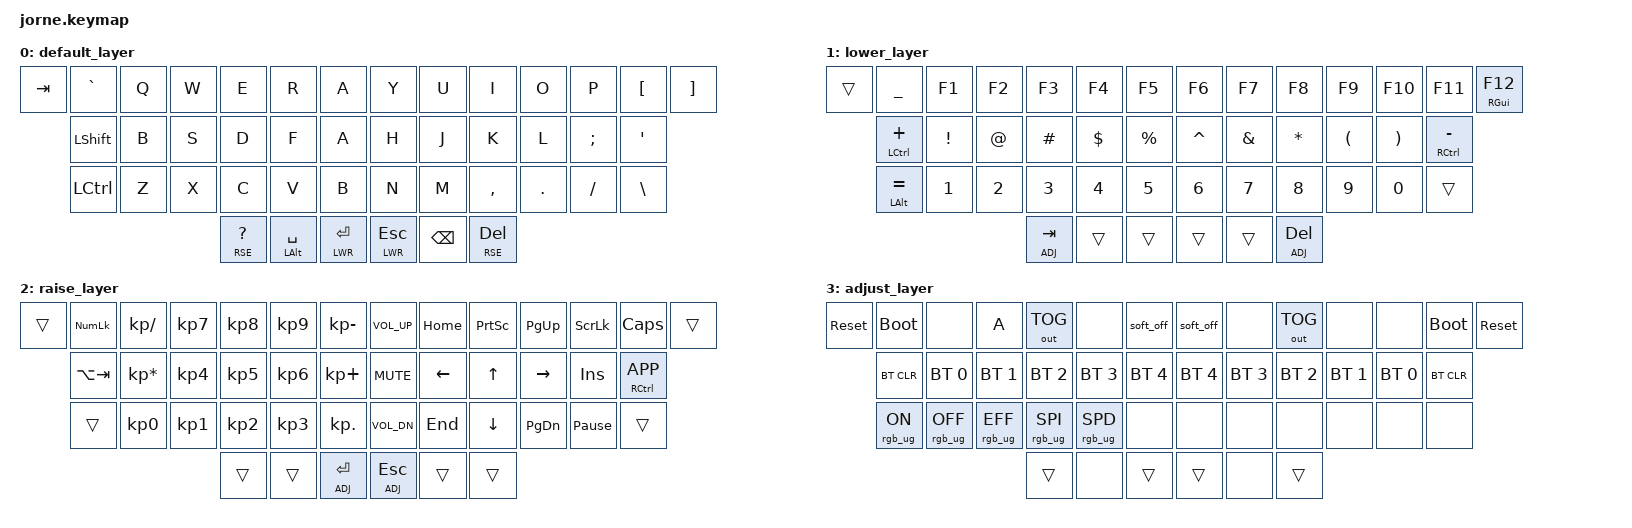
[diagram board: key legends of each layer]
/*
 * Copyright (c) 2020 The ZMK Contributors
 *
 * SPDX-License-Identifier: MIT
 */

#include <behaviors.dtsi>
#include <dt-bindings/zmk/bt.h>
#include <dt-bindings/zmk/keys.h>
#include <dt-bindings/zmk/outputs.h>
#include <dt-bindings/zmk/rgb.h>

//CONFIG_ZMK_SETTINGS_SAVE_DEBOUNCE=1000
//CONFIG_ZMK_RGB_UNDERGLOW_AUTO_OFF_IDLE=y
//CONFIG_ZMK_RGB_UNDERGLOW_AUTO_OFF_USB=y

&led_strip {
    chain-length = <28>;

    // chain-length = <28>;
    // 22 backlight + 6 glowlight
};

#define DEF 0
#define LWR 1
#define RSE 2
#define ADJ 3

/ {
    keymap {
        compatible = "zmk,keymap";

        default_layer {
            // -----------------------------------------------------------------------------------------
            // |  GUI |   ~  |  Q  |  W  |  E  |  R  |  T  |   |  Y  |  U   |  I  |  O  |  P  |  [   | GUI/] |
            //        | CTRL |  A  |  S  |  D  |  F  |  G  |   |  H  |  J   |  K  |  L  |  ;  |CTRL/'|
            //        | LALT |  Z  |  X  |  C  |  V  |  B  |   |  N  |  M   |  ,  |  .  |  /  | RALT |
            //                           | RSE | SPC | LWR |   | LWR | BKSP | RSE |

            bindings = <
&kp TAB  &kp GRAVE       &kp Q  &kp W  &kp E             &kp R               &kp A          &kp Y        &kp U          &kp I        &kp O    &kp P     &kp LBKT          &kp RIGHT_BRACKET
         &kp LEFT_SHIFT  &kp B  &kp S  &kp D             &kp F               &kp A          &kp H        &kp J          &kp K        &kp L    &kp SEMI  &kp SINGLE_QUOTE
         &kp LCTRL       &kp Z  &kp X  &kp C             &kp V               &kp B          &kp N        &kp M          &kp COMMA    &kp DOT  &kp FSLH  &kp BSLH
                                       &lt RSE QUESTION  &mt LEFT_ALT SPACE  &lt LWR RET    &lt LWR ESC  &kp BACKSPACE  &lt RSE DEL
            >;
        };

        lower_layer {
            // -----------------------------------------------------------------------------------------
            // |     |  _  |  F1 |  F2 |  F3 |  F4 |  F5 |   |  F6 |  F7 |  F8 |  F9 | F10 | F11 | F12 |
            //       |  +  |  !  |  @  |  #  |  $  |  %  |   |  ^  |  &  |  *  |  (  |  )  |  -  |
            //       |  =  |  1  |  2  |  3  |  4  |  5  |   |  6  |  7  |  8  |  9  |  0  |     |
            //                    | GUI |     | SPC |   | ENT |     | ALT |

            bindings = <
&trans  &kp UNDER       &kp F1    &kp F2  &kp F3       &kp F4    &kp F5       &kp F6     &kp F7    &kp F8       &kp F9    &kp F10   &kp F11          &mt RGUI F12
        &mt LCTRL PLUS  &kp EXCL  &kp AT  &kp HASH     &kp DLLR  &kp PRCNT    &kp CARET  &kp AMPS  &kp STAR     &kp LPAR  &kp RPAR  &mt RCTRL MINUS
        &mt LALT EQUAL  &kp N1    &kp N2  &kp N3       &kp N4    &kp N5       &kp N6     &kp N7    &kp N8       &kp N9    &kp N0    &trans
                                          &lt ADJ TAB  &trans    &trans       &trans     &trans    &lt ADJ DEL
            >;
        };

        raise_layer {
            // -----------------------------------------------------------------------------------------
            // |     | NMLK |  /  |  7  |  8  |  9  |  -  |   | VOLU| HOME| PRSC| PGUP| SCLK| CLCK|     |
            //       | CTRL |  *  |  4  |  5  |  6  |  +  |   | MUT | LEFT|  UP | RGHT| INS | APP |
            //       |      |  0  |  1  |  2  |  3  |  .  |   | VOLD| END | DOWN| PGDN| PAUS|     |
            //                          |     |     | ADJ |   | ADJ |     |     |

            bindings = <
&trans  &kp KP_NUM   &kp KP_SLASH     &kp KP_N7  &kp KP_N8  &kp KP_N9  &kp KP_MINUS    &kp C_VOL_UP  &kp HOME  &kp PSCRN  &kp PG_UP  &kp SLCK         &kp CAPS         &trans
        &kp LA(TAB)  &kp KP_MULTIPLY  &kp KP_N4  &kp KP_N5  &kp KP_N6  &kp KP_PLUS     &kp C_MUTE    &kp LEFT  &kp UP     &kp RIGHT  &kp INS          &mt RCTRL K_APP
        &trans       &kp KP_N0        &kp KP_N1  &kp KP_N2  &kp KP_N3  &kp KP_DOT      &kp C_VOL_DN  &kp END   &kp DOWN   &kp PG_DN  &kp PAUSE_BREAK  &trans
                                                 &trans     &trans     &lt ADJ RET     &lt ADJ ESC   &trans    &trans
            >;
        };

        adjust_layer {
            // -----------------------------------------------------------------------------------------
            // | RST | BLDR |     |     |OUTTG|     |SFTOFF|   |SFTOFF|     |OUTTG|     |     | BLDR | RST |
            //       | BTCLR| BT0 | BT1 | BT2 | BT3 | BT4 |     | BT4 | BT3 | BT2 | BT1 | BT0 | BTCLR|
            //       | LED+ | LED-|LED_M|LEDS+|LEDS-|     |     |     |     |     |     |     |      |
            //                          |     |     |     |     |     |     |     |

            bindings = <
&sys_reset  &bootloader     &none            &kp A            &out OUT_TOG     &none            &soft_off       &soft_off     &none         &out OUT_TOG  &none         &none         &bootloader  &sys_reset
            &bt BT_CLR      &bt BT_SEL 0     &bt BT_SEL 1     &bt BT_SEL 2     &bt BT_SEL 3     &bt BT_SEL 4    &bt BT_SEL 4  &bt BT_SEL 3  &bt BT_SEL 2  &bt BT_SEL 1  &bt BT_SEL 0  &bt BT_CLR
            &rgb_ug RGB_ON  &rgb_ug RGB_OFF  &rgb_ug RGB_EFF  &rgb_ug RGB_SPI  &rgb_ug RGB_SPD  &none           &none         &none         &none         &none         &none         &none
                                                              &trans           &none            &trans          &trans        &none         &trans
            >;
        };
    };
};
